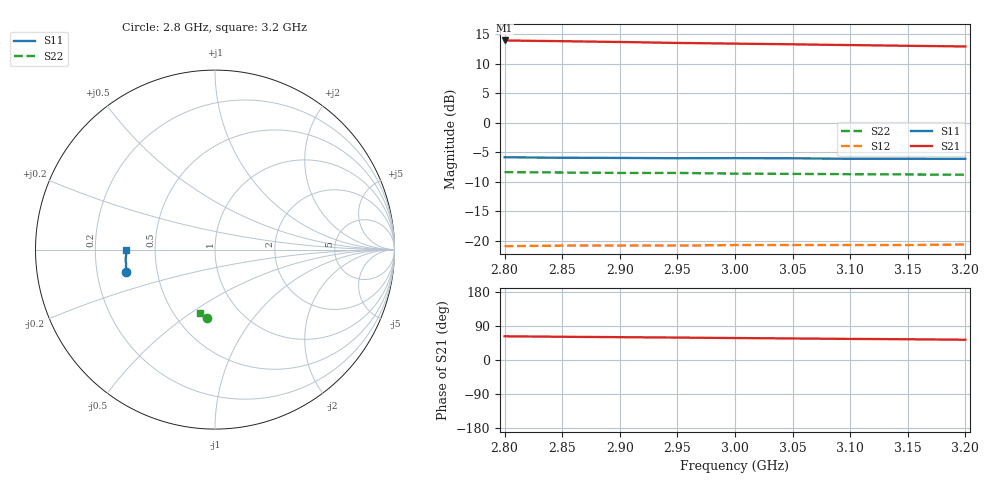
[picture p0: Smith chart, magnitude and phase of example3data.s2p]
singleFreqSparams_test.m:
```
%%%%~~~~~~~~~~~~~~~~~~~~~~~~~~~~~~~~~~~~~~~~~~~~~~~~~~~~~~~~~~
%%%% Test functionality of script
%%%%
%%%% curtis
%%%% 
%%%% Last Edited: 9/1/13
%%%% Octave tested:
%%%% Matlab tested: 
%%%%~~~~~~~~~~~~~~~~~~~~~~~~~~~~~~~~~~~~~~~~~~~~~~~~~~~~~~~~~~
function singleFreqSparams_test()

% Inputs
% s2p filename, frequency in units that match s2p file
filename = "example3data.s2p";
freq = 3.0;

% Import s-parameter data from .s2p file
sparams = importS2P(filename);

% Find s-parameters at the desired frequency
% Create 2x2 s-parameter matrix (rectangular form)
s = singleFreqSparams(sparams,freq);

% convert back to polar form so it can be compared with original
row(1) = freq;
[row(2),row(3)] = rtop(s(1,1));
[row(4),row(5)] = rtop(s(2,1));
[row(6),row(7)] = rtop(s(1,2));
[row(8),row(9)] = rtop(s(2,2));

% print check dialog to terminal
fprintf('\n');
fprintf(['This row should match the [ ',num2str(freq),' ] freq row in complete matrix\n']);
row
fprintf('\n');
sparams
fprintf('\n');

end%function
```
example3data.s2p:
! FILENAME:  example2data.S2P  VERSION: 14.1
! PART NUMBER:  Test123  DATE: 10/03
! BIAS CONDITIONS: VC = 1.000 V, IC = 5.000 MA
# GHZ S MA R 50
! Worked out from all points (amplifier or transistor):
!   9 points, 2.8 GHz to 3.2 GHz, reference 50 ohm
!   highest |S21| = 14.0 dB at 2.8 GHz (marker M1)
!   |S21| within 3 dB of that: start of sweep to end of sweep
!   unconditionally stable (mu >= 1): nowhere
!   at 2.85 GHz: K = 0.75, MSG = 17.3 dB, |S12| = -20.8 dB
!   at 3 GHz: K = 0.79, MSG = 17.1 dB, |S12| = -20.7 dB
!   at 3.2 GHz: K = 0.83, MSG = 16.8 dB, |S12| = -20.6 dB
2.8  0.51 -166.0  4.992 62.5  0.09 13.3  0.382 -96.8
2.85  0.506 -167.9  4.92 61.4  0.091 13.0  0.379 -97.9
2.9  0.504 -169.7  4.846 60.2  0.091 12.7  0.376 -98.7
2.95  0.501 -171.2  4.756 59.2  0.091 12.1  0.376 -99.4
3  0.502 -172.6  4.693 57.9  0.092 11.5  0.371 -100.5
3.05  0.5 -174.4  4.631 56.8  0.092 11.2  0.369 -101.3
3.1  0.496 -176.5  4.561 55.7  0.092 10.8  0.367 -101.8
3.15  0.496 -177.7  4.499 54.7  0.092 10.4  0.365 -102.8
3.2  0.495 -179.5  4.438 53.5  0.093 9.9  0.363 -103.5
